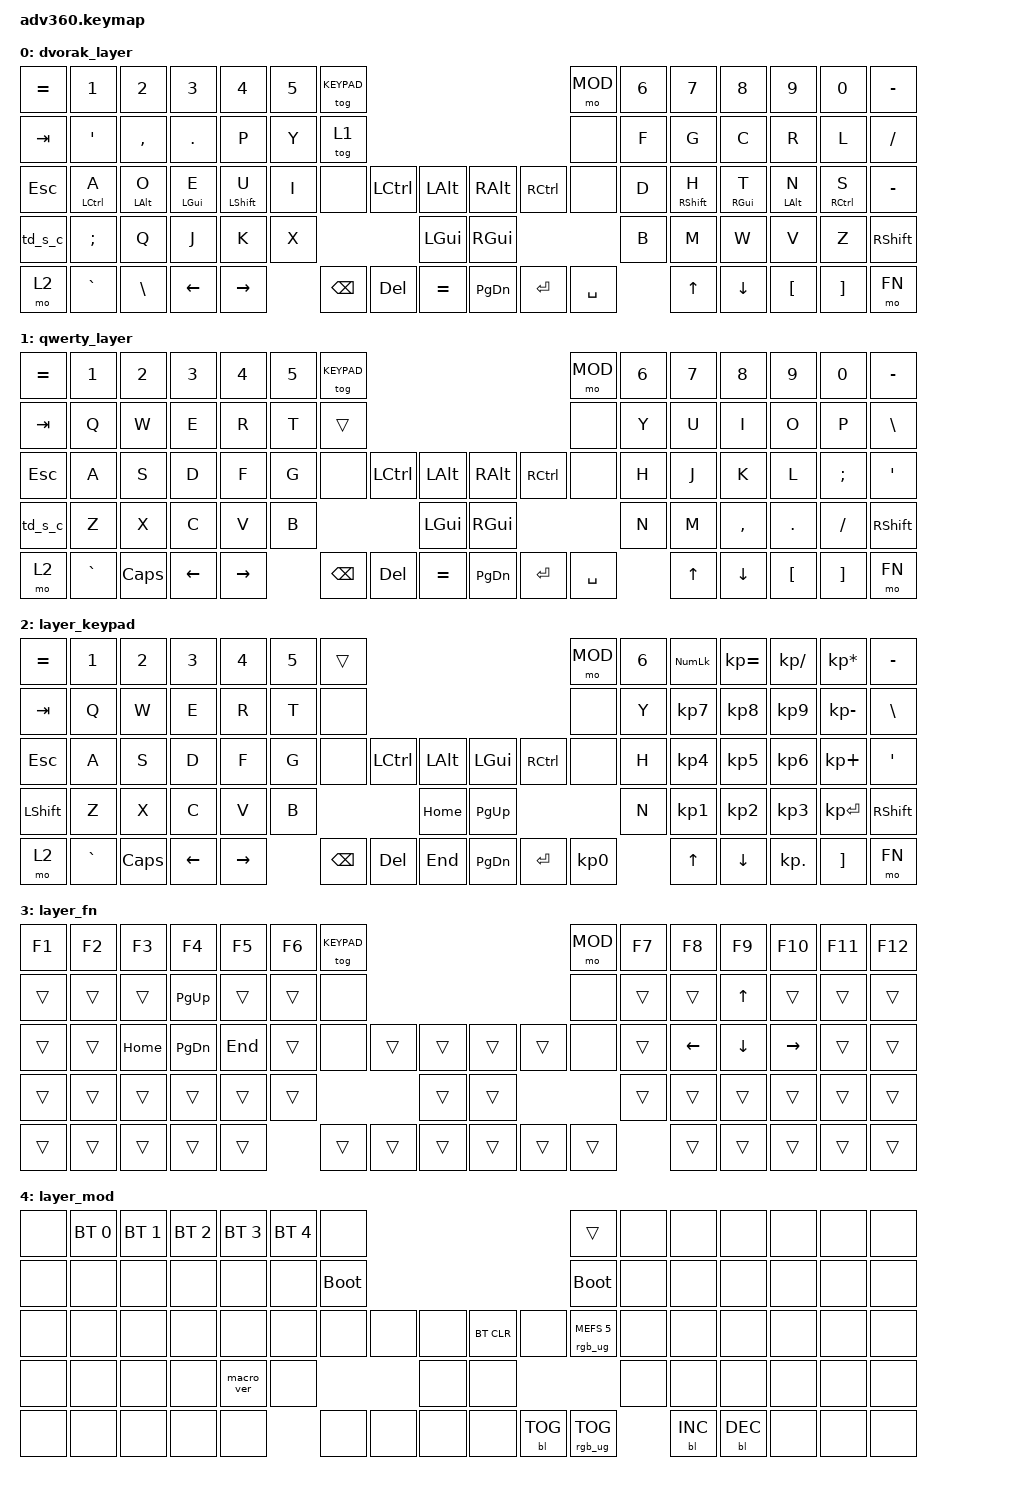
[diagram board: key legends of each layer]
/*
 * Copyright (c) 2020 The ZMK Contributors
 *
 * SPDX-License-Identifier: MIT
 */
/* THIS FILE WAS GENERATED!
 *
 * This file was generated automatically. You may or may not want to
 * edit it directly.
 */

#include <behaviors.dtsi>
#include <dt-bindings/zmk/backlight.h>
#include <dt-bindings/zmk/bt.h>
#include <dt-bindings/zmk/keys.h>
#include <dt-bindings/zmk/rgb.h>

#define DVORAK 0
#define QWERTY 1
#define KEYPAD 2
#define FN     3
#define MOD    4

/ {
    behaviors {
        #include "macros.dtsi"
    #include "version.dtsi"
    #include "behaviors.dtsi"

        hm: homerow_mods {
            compatible = "zmk,behavior-hold-tap";
            label = "HOMEROW_MODS";
            #binding-cells = <2>;
            tapping-term-ms = <200>;
            quick_tap_ms = <175>;
            flavor = "tap-preferred";
            bindings = <&kp>, <&kp>;
        };

        td_s_c: td_s_c {
            compatible = "zmk,behavior-tap-dance";
            label = "TD_S_C";
            #binding-cells = <0>;
            bindings = <&kp LEFT_SHIFT>, <&kp CAPSLOCK>;
        };
    };

    keymap {
        compatible = "zmk,keymap";

        dvorak_layer {
            bindings = <
&kp EQUAL  &kp N1         &kp N2          &kp N3          &kp N4            &kp N5  &tog KEYPAD                                                  &mo MOD    &kp N6  &kp N7             &kp N8           &kp N9          &kp N0               &kp MINUS
&kp TAB    &kp SQT        &kp COMMA       &kp DOT         &kp P             &kp Y   &tog 1                                                       &none      &kp F   &kp G              &kp C            &kp R           &kp L                &kp FSLH
&kp ESC    &hm LCTRL A    &hm LEFT_ALT O  &hm LEFT_GUI E  &hm LEFT_SHIFT U  &kp I   &none        &kp LCTRL  &kp LALT       &kp RALT   &kp RCTRL  &none      &kp D   &hm RIGHT_SHIFT H  &hm RIGHT_GUI T  &hm LEFT_ALT N  &hm RIGHT_CONTROL S  &kp MINUS
&td_s_c    &kp SEMICOLON  &kp Q           &kp J           &kp K             &kp X                           &kp LGUI       &kp RGUI                         &kp B   &kp M              &kp W            &kp V           &kp Z                &kp RSHFT
&mo 2      &kp GRAVE      &kp BSLH        &kp LEFT        &kp RIGHT                 &kp BSPC     &kp DEL    &kp EQUAL      &kp PG_DN  &kp ENTER  &kp SPACE          &kp UP             &kp DOWN         &kp LBKT        &kp RBKT             &mo FN
            >;
        };

        qwerty_layer {
            bindings = <
&kp EQUAL  &kp N1     &kp N2    &kp N3    &kp N4     &kp N5  &tog KEYPAD                                                  &mo MOD    &kp N6  &kp N7  &kp N8     &kp N9    &kp N0    &kp MINUS
&kp TAB    &kp Q      &kp W     &kp E     &kp R      &kp T   &trans                                                       &none      &kp Y   &kp U   &kp I      &kp O     &kp P     &kp BSLH
&kp ESC    &kp A      &kp S     &kp D     &kp F      &kp G   &none        &kp LCTRL  &kp LALT       &kp RALT   &kp RCTRL  &none      &kp H   &kp J   &kp K      &kp L     &kp SEMI  &kp SQT
&td_s_c    &kp Z      &kp X     &kp C     &kp V      &kp B                           &kp LGUI       &kp RGUI                         &kp N   &kp M   &kp COMMA  &kp DOT   &kp FSLH  &kp RSHFT
&mo 2      &kp GRAVE  &kp CAPS  &kp LEFT  &kp RIGHT          &kp BSPC     &kp DEL    &kp EQUAL      &kp PG_DN  &kp ENTER  &kp SPACE          &kp UP  &kp DOWN   &kp LBKT  &kp RBKT  &mo FN
            >;
        };

        layer_keypad {
            bindings = <
&kp EQUAL  &kp N1     &kp N2    &kp N3    &kp N4     &kp N5  &trans                                                   &mo MOD    &kp N6  &kp KP_NUM  &kp KP_EQUAL  &kp KP_DIVIDE  &kp KP_MULTIPLY  &kp MINUS
&kp TAB    &kp Q      &kp W     &kp E     &kp R      &kp T   &none                                                    &none      &kp Y   &kp KP_N7   &kp KP_N8     &kp KP_N9      &kp KP_MINUS     &kp BSLH
&kp ESC    &kp A      &kp S     &kp D     &kp F      &kp G   &none     &kp LCTRL  &kp LALT      &kp LGUI   &kp RCTRL  &none      &kp H   &kp KP_N4   &kp KP_N5     &kp KP_N6      &kp KP_PLUS      &kp SQT
&kp LSHFT  &kp Z      &kp X     &kp C     &kp V      &kp B                        &kp HOME      &kp PG_UP                        &kp N   &kp KP_N1   &kp KP_N2     &kp KP_N3      &kp KP_ENTER     &kp RSHFT
&mo 2      &kp GRAVE  &kp CAPS  &kp LEFT  &kp RIGHT          &kp BSPC  &kp DEL    &kp END       &kp PG_DN  &kp ENTER  &kp KP_N0          &kp UP      &kp DOWN      &kp KP_DOT     &kp RBKT         &mo FN
            >;
        };

        layer_fn {
            bindings = <
&kp F1  &kp F2  &kp F3    &kp F4         &kp F5   &kp F6  &tog KEYPAD                                      &mo MOD  &kp F7  &kp F8          &kp F9          &kp F10          &kp F11  &kp F12
&trans  &trans  &trans    &kp PAGE_UP    &trans   &trans  &none                                            &none    &trans  &trans          &kp UP_ARROW    &trans           &trans   &trans
&trans  &trans  &kp HOME  &kp PAGE_DOWN  &kp END  &trans  &none        &trans  &trans      &trans  &trans  &none    &trans  &kp LEFT_ARROW  &kp DOWN_ARROW  &kp RIGHT_ARROW  &trans   &trans
&trans  &trans  &trans    &trans         &trans   &trans                       &trans      &trans                   &trans  &trans          &trans          &trans           &trans   &trans
&trans  &trans  &trans    &trans         &trans           &trans       &trans  &trans      &trans  &trans  &trans           &trans          &trans          &trans           &trans   &trans
            >;
        };

        layer_mod {
            bindings = <
&none  &bt BT_SEL 0  &bt BT_SEL 1  &bt BT_SEL 2  &bt BT_SEL 3  &bt BT_SEL 4  &none                                                  &trans                  &none  &none       &none       &none  &none  &none
&none  &none         &none         &none         &none         &none         &bootloader                                            &bootloader             &none  &none       &none       &none  &none  &none
&none  &none         &none         &none         &none         &none         &none        &none  &none      &bt BT_CLR  &none       &rgb_ug RGB_MEFS_CMD 5  &none  &none       &none       &none  &none  &none
&none  &none         &none         &none         &macro_ver    &none                             &none      &none                                           &none  &none       &none       &none  &none  &none
&none  &none         &none         &none         &none                       &none        &none  &none      &none       &bl BL_TOG  &rgb_ug RGB_TOG                &bl BL_INC  &bl BL_DEC  &none  &none  &none
            >;
        };
    };
};
